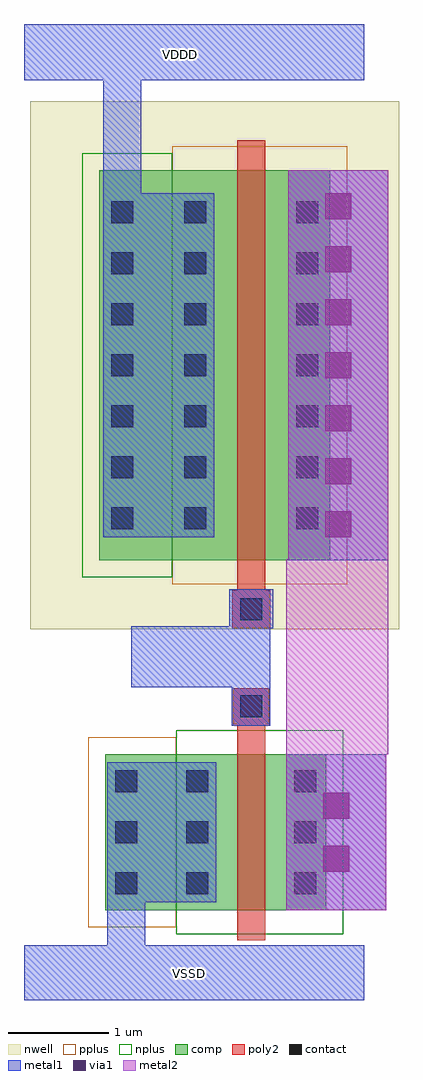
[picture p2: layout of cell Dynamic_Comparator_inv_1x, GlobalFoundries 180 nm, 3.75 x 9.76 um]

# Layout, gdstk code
from math import pi, radians
import gdstk
lib = gdstk.Library(unit=1e-6, precision=1e-09)
def R(c, l, rs):  # rectangles x0, y0, x1, y1
    for r in rs: c.add(gdstk.rectangle(r[:2], r[2:], *l))
def A(c, l, x, y, w, h, nx, ny, dx, dy):  # array of equal rectangles
    R(c, l, [(x+i*dx, y+j*dy, x+i*dx+w, y+j*dy+h) for i in range(nx) for j in range(ny)])
nwell = (21, 0)
comp = (22, 0)
poly2 = (30, 0)
pplus = (31, 0)
nplus = (32, 0)
contact = (33, 0)
metal1 = (34, 0)
via1 = (35, 0)
metal2 = (36, 0)

via_dev_1 = lib.new_cell('via_dev$1')
R(via_dev_1, metal1, [(0,0,1,3.9)])
A(via_dev_1, via1, 0.37, 0.23, 0.26, 0.26, 1, 7, 0, 0.53)
R(via_dev_1, metal2, [(0,0,1,3.9)])

via_dev = lib.new_cell('via_dev')
R(via_dev, metal1, [(0,0,1,1.56)])
R(via_dev, via1, [(0.37,0.385,0.63,0.645), (0.37,0.915,0.63,1.175)])
R(via_dev, metal2, [(0,0,1,1.56)])

nfet = lib.new_cell('nfet')
R(nfet, comp, [(-0.42,0,0,1.56), (0,0,0.66,1.56), (0.66,0,1.08,1.56), (1.08,0,1.79,1.56)])
R(nfet, poly2, [(0.19,-0.3,0.47,1.86), (0.15,1.86,0.51,2.22)])
R(nfet, pplus, [(1.08,-0.17,1.96,1.73)])
R(nfet, nplus, [(-0.59,-0.24,1.08,1.8)])
A(nfet, contact, -0.32, 0.16, 0.22, 0.22, 1, 3, 0, 0.51)
A(nfet, contact, 0.76, 0.16, 0.22, 0.22, 1, 3, 0, 0.51)
A(nfet, contact, 1.47, 0.16, 0.22, 0.22, 1, 3, 0, 0.51)
R(nfet, contact, [(0.22,1.93,0.44,2.15)])
R(nfet, metal1, [(-0.4,0.08,-0.02,1.48), (0.68,0.08,1.06,1.48), (1.39,0.08,1.77,1.48), (0.14,1.849,0.52,2.231)])

pfet = lib.new_cell('pfet')
R(pfet, nwell, [(-1.15,-0.69,2.54,4.59)])
R(pfet, comp, [(-0.46,0,0,3.9), (0,0,0.66,3.9), (0.66,0,1.12,3.9), (1.12,0,1.85,3.9)])
R(pfet, poly2, [(0.19,-0.3,0.47,4.2), (0.14,4.2,0.52,4.58)])
R(pfet, pplus, [(-0.63,-0.24,1.12,4.14)])
R(pfet, nplus, [(1.12,-0.17,2.02,4.07)])
A(pfet, contact, -0.34, 0.31, 0.22, 0.22, 1, 7, 0, 0.51)
A(pfet, contact, 0.78, 0.31, 0.22, 0.22, 1, 7, 0, 0.51)
A(pfet, contact, 1.51, 0.31, 0.22, 0.22, 1, 7, 0, 0.51)
R(pfet, contact, [(0.22,4.28,0.44,4.5)])
R(pfet, metal1, [(-0.42,0.23,-0.04,3.67), (0.7,0.23,1.08,3.67), (1.43,0.23,1.81,3.67), (0.14,4.199,0.52,4.581)])

dynamic_comparator_inv_1 = lib.new_cell('Dynamic_Comparator_inv_1x')
R(dynamic_comparator_inv_1, metal1, [(-1.6,-3.6,1.8,-3.05), (-0.77,-3.1,-0.39,-2.6), (-0.5,-2.62,0.05,-1.22), (0.475,-0.855,0.86,-0.47), (0.48,-0.6,0.86,0.21), (-0.53,-0.47,0.86,0.14), (0.45,0.12,0.89,0.51), (-0.48,1.03,0.01,4.47), (-0.81,4.42,-0.43,5.67), (-1.6,5.6,1.8,6.16)])
R(dynamic_comparator_inv_1, metal2, [(1.02,-1.14,2.04,0.81)])
dynamic_comparator_inv_1.add(gdstk.Reference(via_dev_1, (1.04,0.8)))
dynamic_comparator_inv_1.add(gdstk.Reference(via_dev, (1.02,-2.7)))
dynamic_comparator_inv_1.add(gdstk.Reference(nfet, (1,-2.7), rotation=pi, x_reflection=True))
dynamic_comparator_inv_1.add(gdstk.Reference(pfet, (1,4.7), rotation=pi))
dynamic_comparator_inv_1.add(gdstk.Label('VSSD', (0.05,-3.33), layer=34, texttype=10))
dynamic_comparator_inv_1.add(gdstk.Label('VDDD', (-0.04,5.86), layer=34, texttype=10))

lib.write_gds('Dynamic_Comparator_inv_1x.gds')
